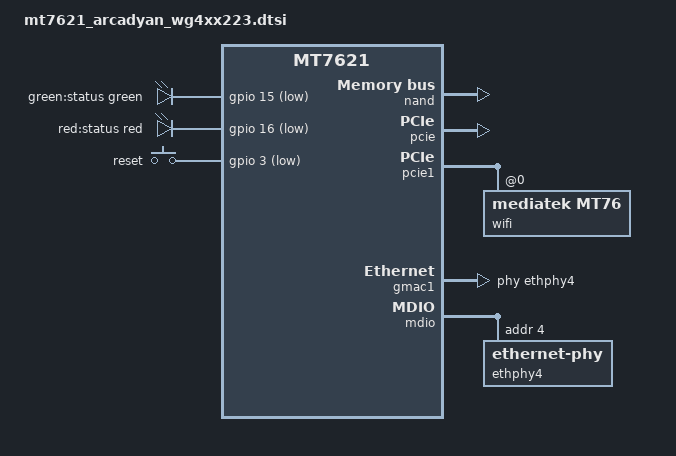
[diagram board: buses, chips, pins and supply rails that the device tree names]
// SPDX-License-Identifier: GPL-2.0-or-later OR MIT

#include "mt7621.dtsi"

#include <dt-bindings/gpio/gpio.h>
#include <dt-bindings/input/input.h>
#include <dt-bindings/leds/common.h>

/ {
	aliases {
		led-boot = &led_status_red;
		led-failsafe = &led_status_red;
		led-running = &led_status_green;
		led-upgrade = &led_status_red;
	};

	leds {
		compatible = "gpio-leds";

		led_status_green: led-1 {
			label = "green:status";
			color = <LED_COLOR_ID_GREEN>;
			function = LED_FUNCTION_STATUS;
			gpios = <&gpio 15 GPIO_ACTIVE_LOW>;
		};

		led_status_red: led-2 {
			label = "red:status";
			color = <LED_COLOR_ID_RED>;
			function = LED_FUNCTION_STATUS;
			gpios = <&gpio 16 GPIO_ACTIVE_LOW>;
		};
	};

	keys {
		compatible = "gpio-keys";

		reset {
			label = "reset";
			gpios = <&gpio 3 GPIO_ACTIVE_LOW>;
			linux,code = <KEY_RESTART>;
		};
	};

	ubi-concat {
		compatible = "mtd-concat";
		devices = <&ubiconcat0 &ubiconcat1>;

		partitions {
			compatible = "fixed-partitions";
			#address-cells = <1>;
			#size-cells = <1>;

			partition@0 {
				label = "ubi";
				reg = <0x0 0x5240000>;
			};
		};
	};
};

&nand {
	status = "okay";

	partitions {
		compatible = "fixed-partitions";
		#address-cells = <1>;
		#size-cells = <1>;

		partition@0 {
			label = "u-boot";
			reg = <0x0 0x100000>;
			read-only;
		};

		partition@100000 {
			label = "u-boot-env";
			reg = <0x100000 0x100000>;
		};

		factory: partition@200000 {
			label = "Factory";
			reg = <0x200000 0x100000>;
			read-only;

			compatible = "nvmem-cells";
			#address-cells = <1>;
			#size-cells = <1>;

			/* We keep the block below to prevent eth0 MAC
			 * from randomization. Unique WAN, LAN, WLAN MACs
			 * are stored in u-boot-env.
			 */

			/* Default Ralink MAC (00:0c:43:28:80:xx) */
			macaddr_factory_fff0: macaddr@fff0 {
				reg = <0xfff0 0x6>;
			};
		};

		partition@300000 {
			label = "firmware";
			reg = <0x300000 0x2000000>;

			compatible = "fixed-partitions";
			#address-cells = <1>;
			#size-cells = <1>;

			partition@0 {
				label = "kernel";
				reg = <0x0 0x440000>;
			};

			ubiconcat0: partition@400000 {
				label = "ubiconcat0";
				reg = <0x440000 0x1bc0000>;
			};
		};

		partition@2300000 {
			label = "Firmware2";
			reg = <0x2300000 0x2000000>;
			read-only;
		};

		partition@4300000 {
			label = "glbcfg";
			reg = <0x4300000 0x200000>;
			read-only;
		};

		partition@4500000 {
			label = "board_data";
			reg = <0x4500000 0x100000>;
			read-only;
		};

		partition@4600000 {
			label = "glbcfg2";
			reg = <0x4600000 0x200000>;
			read-only;
		};

		partition@4800000 {
			label = "board_data2";
			reg = <0x4800000 0x100000>;
			read-only;
		};

		ubiconcat1: partition@4900000 {
			label = "ubiconcat1";
			reg = <0x4900000 0x3680000>;
		};
	};
};

&pcie {
	status = "okay";
};

&pcie1 {
	wifi@0,0 {
		compatible = "mediatek,mt76";
		reg = <0x0000 0 0 0 0>;
		mediatek,mtd-eeprom = <&factory 0x0>;
	};
};

&gmac0 {
	nvmem-cells = <&macaddr_factory_fff0>;
	nvmem-cell-names = "mac-address";
};

&gmac1 {
	status = "okay";
	label = "wan";
	phy-handle = <&ethphy4>;

	nvmem-cells = <&macaddr_factory_fff0>;
	nvmem-cell-names = "mac-address";
};

&mdio {
	ethphy4: ethernet-phy@4 {
		reg = <4>;
	};
};

&switch0 {
	ports {
		port@2 {
			status = "okay";
			label = "lan2";
		};

		port@3 {
			status = "okay";
			label = "lan1";
		};
	};
};

&state_default {
	gpio {
		groups = "i2c", "jtag";
		function = "gpio";
	};
};
